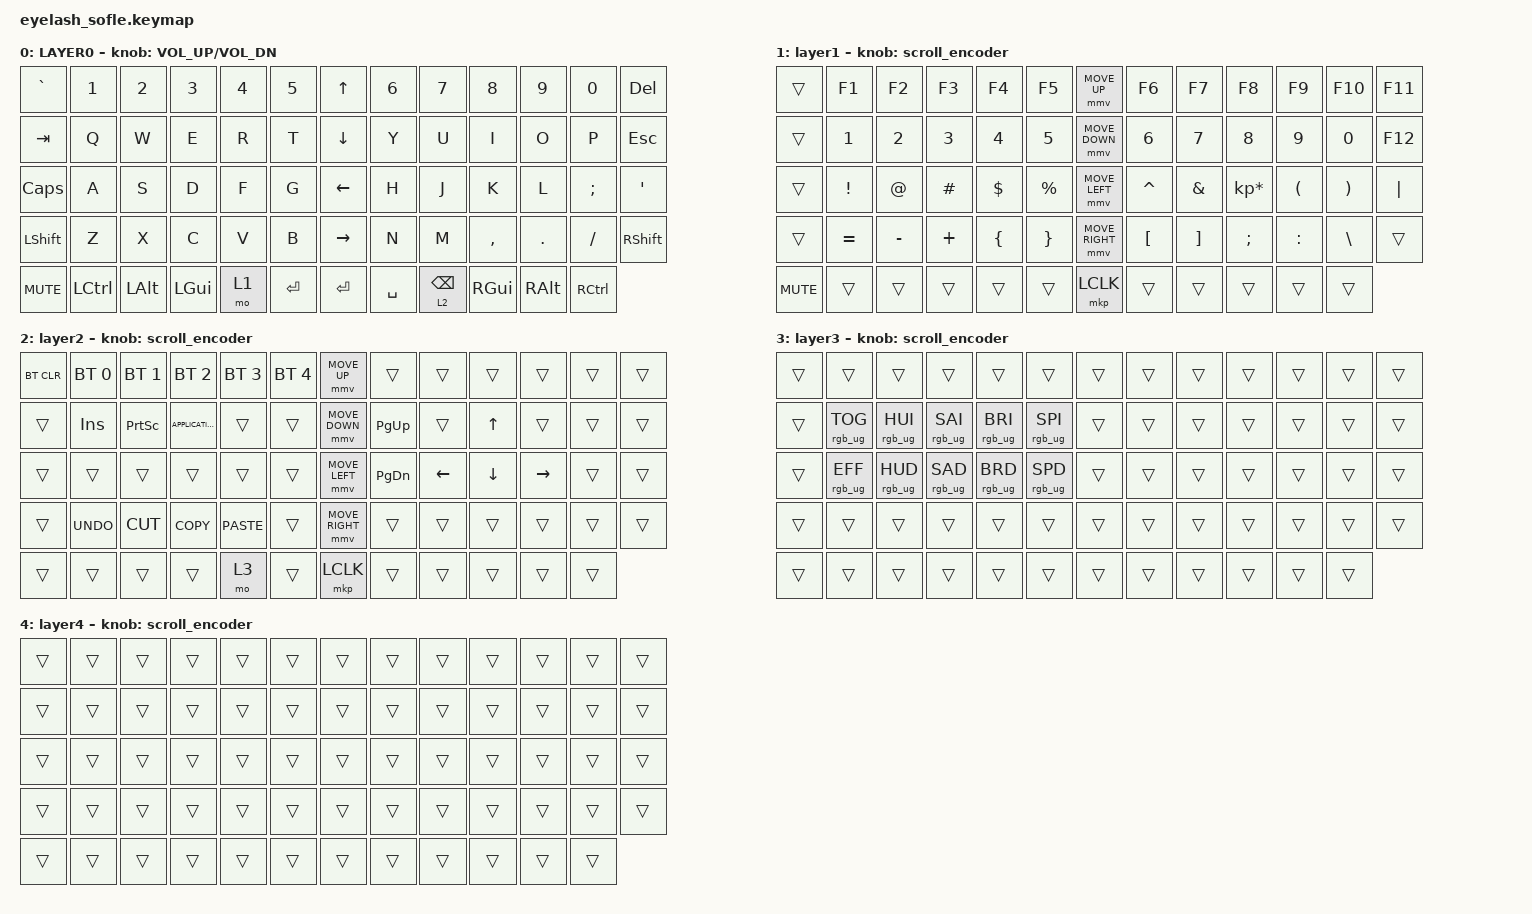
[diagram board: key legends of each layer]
#define ZMK_POINTING_DEFAULT_MOVE_VAL 1200  // 600
#define ZMK_POINTING_DEFAULT_SCRL_VAL 25   // 10

#include <input/processors.dtsi>
#include <zephyr/dt-bindings/input/input-event-codes.h>
#include <behaviors.dtsi>
#include <dt-bindings/zmk/bt.h>
#include <dt-bindings/zmk/keys.h>
#include <dt-bindings/zmk/pointing.h>
#include <dt-bindings/zmk/rgb.h>

&mmv_input_listener { input-processors = <&zip_xy_scaler 2 1>; };

&msc_input_listener { input-processors = <&zip_scroll_scaler 2 1>; };

&msc {
    acceleration-exponent = <1>;      // 0
    time-to-max-speed-ms = <100>;       // 300
    delay-ms = <0>;                   // 0
};

&mmv {
    time-to-max-speed-ms = <500>;
    acceleration-exponent = <1>;
    trigger-period-ms = <16>;
};

&soft_off { hold-time-ms = <2000>; };

/ {
    scroll_encoder: scroll_encoder {
        compatible = "zmk,behavior-sensor-rotate";
        #sensor-binding-cells = <0>;
        bindings = <&msc SCRL_DOWN>, <&msc SCRL_UP>;

        tap-ms = <100>;
    };

    behaviors {
    };

    combos {
        compatible = "zmk,combos";

        softoff {
            bindings = <&soft_off>;
            key-positions = <14 28 40>;
        };
    };

    keymap {
        compatible = "zmk,keymap";

        layer0 {
            bindings = <
&kp GRAVE     &kp N1     &kp N2        &kp N3        &kp N4  &kp N5       &kp UP_ARROW     &kp N6     &kp N7           &kp N8         &kp N9         &kp N0     &kp DELETE
&kp TAB       &kp Q      &kp W         &kp E         &kp R   &kp T        &kp DOWN_ARROW   &kp Y      &kp U            &kp I          &kp O          &kp P      &kp ESC
&kp CAPSLOCK  &kp A      &kp S         &kp D         &kp F   &kp G        &kp LEFT_ARROW   &kp H      &kp J            &kp K          &kp L          &kp SEMI   &kp APOS
&kp LSHFT     &kp Z      &kp X         &kp C         &kp V   &kp B        &kp RIGHT_ARROW  &kp N      &kp M            &kp COMMA      &kp DOT        &kp FSLH   &kp RIGHT_SHIFT
&kp C_MUTE    &kp LCTRL  &kp LEFT_ALT  &kp LEFT_GUI  &mo 1   &kp ENTER    &kp ENTER        &kp SPACE  &lt 2 BACKSPACE  &kp RIGHT_GUI  &kp RIGHT_ALT  &kp RCTRL
            >;

            sensor-bindings = <&inc_dec_kp C_VOLUME_UP C_VOL_DN>;
            display-name = "LAYER0";
        };

        layer_1 {
            bindings = <
&trans      &kp F1        &kp F2     &kp F3    &kp F4          &kp F5             &mmv MOVE_UP     &kp F6            &kp F7             &kp F8           &kp F9                &kp F10                &kp F11
&trans      &kp NUMBER_1  &kp N2     &kp N3    &kp N4          &kp N5             &mmv MOVE_DOWN   &kp N6            &kp N7             &kp N8           &kp N9                &kp N0                 &kp F12
&trans      &kp EXCL      &kp AT     &kp HASH  &kp DOLLAR      &kp PERCENT        &mmv MOVE_LEFT   &kp CARET         &kp AMPS           &kp KP_MULTIPLY  &kp LEFT_PARENTHESIS  &kp RIGHT_PARENTHESIS  &kp PIPE
&trans      &kp EQUAL     &kp MINUS  &kp PLUS  &kp LEFT_BRACE  &kp RIGHT_BRACE    &mmv MOVE_RIGHT  &kp LEFT_BRACKET  &kp RIGHT_BRACKET  &kp SEMICOLON    &kp COLON             &kp BACKSLASH          &trans
&kp C_MUTE  &trans        &trans     &trans    &trans          &trans             &mkp LCLK        &trans            &trans             &trans           &trans                &trans
            >;

            display-name = "layer1";
            sensor-bindings = <&scroll_encoder>;
        };

        layer_2 {
            bindings = <
&bt BT_CLR  &bt BT_SEL 0  &bt BT_SEL 1     &bt BT_SEL 2       &bt BT_SEL 3  &bt BT_SEL 4    &mmv MOVE_UP     &trans     &trans          &trans          &trans     &trans  &trans
&trans      &kp INSERT    &kp PRINTSCREEN  &kp K_APPLICATION  &trans        &trans          &mmv MOVE_DOWN   &kp PG_UP  &trans          &kp UP_ARROW    &trans     &trans  &trans
&trans      &trans        &trans           &trans             &trans        &trans          &mmv MOVE_LEFT   &kp PG_DN  &kp LEFT_ARROW  &kp DOWN_ARROW  &kp RIGHT  &trans  &trans
&trans      &kp K_UNDO    &kp K_CUT        &kp K_COPY         &kp K_PASTE   &trans          &mmv MOVE_RIGHT  &trans     &trans          &trans          &trans     &trans  &trans
&trans      &trans        &trans           &trans             &mo 3         &trans          &mkp LCLK        &trans     &trans          &trans          &trans     &trans
            >;

            display-name = "layer2";
            sensor-bindings = <&scroll_encoder>;
        };

        layer_3 {
            bindings = <
&trans  &trans           &trans           &trans           &trans           &trans             &trans  &trans  &trans  &trans  &trans  &trans  &trans
&trans  &rgb_ug RGB_TOG  &rgb_ug RGB_HUI  &rgb_ug RGB_SAI  &rgb_ug RGB_BRI  &rgb_ug RGB_SPI    &trans  &trans  &trans  &trans  &trans  &trans  &trans
&trans  &rgb_ug RGB_EFF  &rgb_ug RGB_HUD  &rgb_ug RGB_SAD  &rgb_ug RGB_BRD  &rgb_ug RGB_SPD    &trans  &trans  &trans  &trans  &trans  &trans  &trans
&trans  &trans           &trans           &trans           &trans           &trans             &trans  &trans  &trans  &trans  &trans  &trans  &trans
&trans  &trans           &trans           &trans           &trans           &trans             &trans  &trans  &trans  &trans  &trans  &trans
            >;

            display-name = "layer3";
            sensor-bindings = <&scroll_encoder>;
        };

        layer_4 {
            bindings = <
&trans  &trans  &trans  &trans  &trans  &trans    &trans  &trans  &trans  &trans  &trans  &trans  &trans
&trans  &trans  &trans  &trans  &trans  &trans    &trans  &trans  &trans  &trans  &trans  &trans  &trans
&trans  &trans  &trans  &trans  &trans  &trans    &trans  &trans  &trans  &trans  &trans  &trans  &trans
&trans  &trans  &trans  &trans  &trans  &trans    &trans  &trans  &trans  &trans  &trans  &trans  &trans
&trans  &trans  &trans  &trans  &trans  &trans    &trans  &trans  &trans  &trans  &trans  &trans
            >;

            display-name = "layer4";
            sensor-bindings = <&scroll_encoder>;
        };
    };
};
